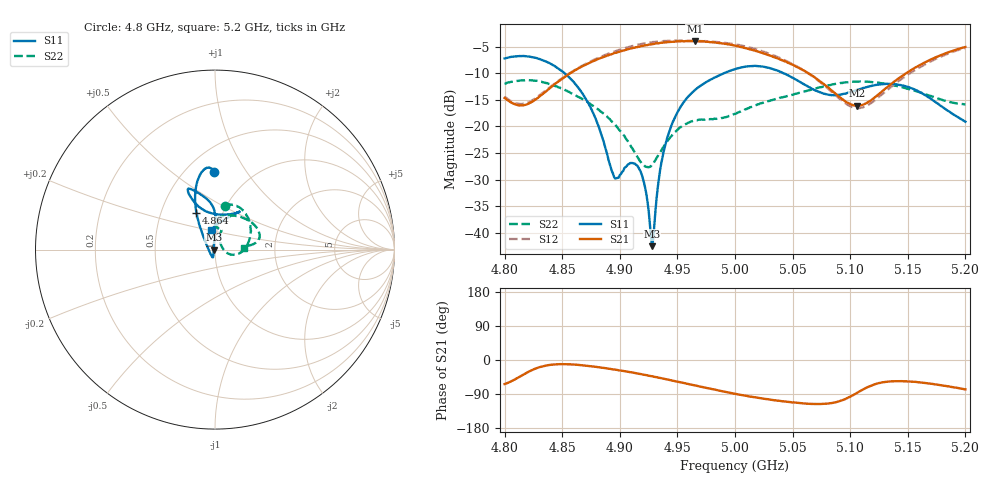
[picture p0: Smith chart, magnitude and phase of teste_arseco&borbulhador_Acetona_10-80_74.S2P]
! Network Analyzer HP8722D
! Hewlett-Packard
! Data name: Linha & Wilkinson
! Saver's name: Rodrigo Anjos
! Comments: Teste da utilização de aquisição
! continua pelo VNA HP8722D
! Time and date: 25/4/2025 15:53
!  Frequency  S11  S21  S12  S22
# HZ  S  MA R 50
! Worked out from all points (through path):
!   401 points, 4.8 GHz to 5.2 GHz, reference 50 ohm
!   highest |S21| = -3.97 dB at 4.965 GHz (marker M1); lowest = -16.1 dB at 5.106 GHz (marker M2)
!   lowest |S11| = -42.5 dB at 4.928 GHz (marker M3), VSWR 1.02, Z = 49.3 - j0.101 ohm
!   |S11| at or under -10 dB: 4.852 GHz to 4.991 GHz (138.6 MHz wide, 2.82 % of centre); 5.042 GHz to end of sweep
!   |S22| runs from -27.7 to -11.3 dB; largest |S21 - S12| = 1.2
!   S11 on the Smith chart (normalised r, x): 4.8 GHz: 0.68, +0.73; 4.864 GHz: 0.75, +0.33; 5.2 GHz: 0.94, +0.21
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4.8e9  0.4346 90.6  0.1852 -63.5  0.1903 69.9  0.251 77.2
4.82e9  0.4529 96.9  0.1623 -32.1  0.1673 98.7  0.2719 61.3
4.864e9  0.2309 116.6  0.3513 -12.9  0.3537 121.1  0.1891 11.9
4.867e9  0.2082 118.4  0.3651 -13.8  0.3687 120.7  0.1824 8.6
4.88e9  0.1111 128.9  0.4245 -18.5  0.4346 118.2  0.1476 -5.4
4.895e9  0.03363 -173.4  0.4884 -24.9  0.5032 113.6  0.106 -15.8
4.909e9  0.04535 -108.0  0.5372 -32.2  0.562 107.6  0.06677 -14.8
4.917e9  0.03961 -104.2  0.563 -36.5  0.59 103.4  0.04821 -0.4
4.922e9  0.02658 -108.7  0.578 -39.4  0.6037 100.6  0.04208 16.5
4.928e9  0.007524 -172.2  0.5921 -43.0  0.6183 97.0  0.04403 41.7
4.93e9  0.01207 125.2  0.5964 -44.5  0.6202 95.7  0.04667 49.2
4.934e9  0.03263 100.2  0.6043 -47.1  0.629 93.2  0.05508 58.5
4.939e9  0.06381 93.2  0.6151 -49.9  0.6349 89.8  0.06722 65.8
4.946e9  0.11 89.9  0.6236 -54.6  0.6383 85.4  0.0847 70.3
4.965e9  0.2186 90.9  0.6331 -67.1  0.6371 73.3  0.1138 71.7
5e9  0.3453 109.0  0.5726 -89.1  0.5917 50.7  0.1315 88.6
5.03e9  0.3535 115.0  0.4644 -104.3  0.4804 33.9  0.1737 85.3
5.067e9  0.2255 105.2  0.2997 -116.0  0.2974 23.6  0.2227 57.0
5.106e9  0.2196 64.4  0.1565 -86.5  0.1486 56.4  0.263 24.6
5.134e9  0.2511 57.0  0.2426 -56.6  0.2279 88.7  0.2476 12.3
5.169e9  0.1851 69.8  0.4197 -62.2  0.4034 84.7  0.1942 6.7
5.2e9  0.1108 100.6  0.5566 -77.6  0.5463 70.0  0.1614 3.7
